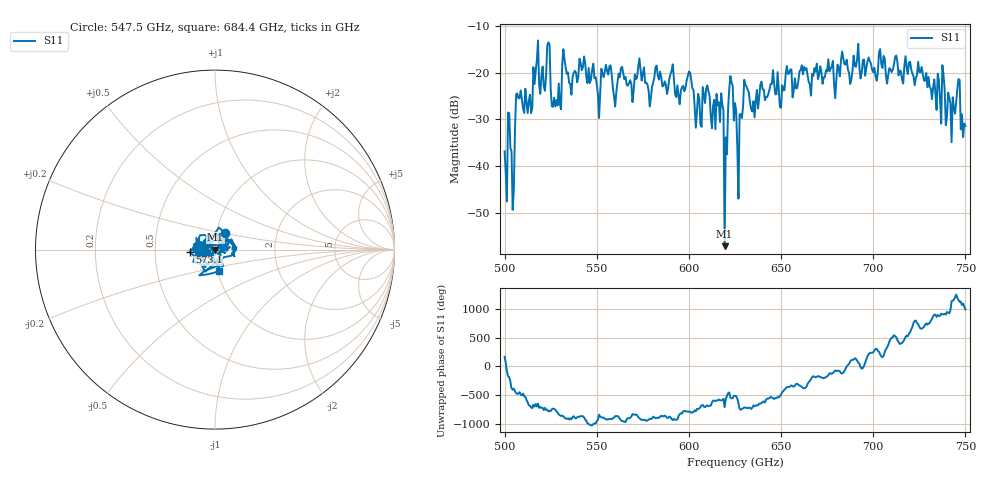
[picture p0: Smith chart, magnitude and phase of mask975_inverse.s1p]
!Created with skrf (http://scikit-rf.org).
# GHz S MA R 50.0
!freq magS11 angS11
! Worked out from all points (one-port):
!   401 points, 500 GHz to 750 GHz, reference 50 ohm
!   lowest |S11| = -57.1 dB at 619.4 GHz (marker M1), VSWR 1.00, Z = 50.1 + j0.0322 ohm
!   |S11| at or under -10 dB: start of sweep to end of sweep
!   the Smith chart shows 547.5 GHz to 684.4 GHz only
!   S11 on the Smith chart (normalised r, x): 547.5 GHz: 1.09, +0.21; 573.1 GHz: 0.75, -0.02; 684.4 GHz: 1.01, -0.25
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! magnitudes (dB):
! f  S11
! 500 GHz  -36.8
! 504.4 GHz  -49.4
! 507.5 GHz  -25.5
! 513.8 GHz  -24.7
! 516.9 GHz  -19.6
! 523.8 GHz  -13.5
! 526.9 GHz  -25.4
! 531.2 GHz  -18.2
! 547.5 GHz  -19.3
! 562.5 GHz  -21.0
! 573.1 GHz  -16.9
! 593.8 GHz  -22.7
! 600 GHz  -19.8
! 616.2 GHz  -26.3
! 619.4 GHz  -57.1
! 620.6 GHz  -37.5
! 622.5 GHz  -20.7
! 625 GHz  -26.5
! 627.5 GHz  -28.9
! 631.2 GHz  -23.0
! 634.4 GHz  -28.3
! 656.2 GHz  -25.3
! 684.4 GHz  -18.2
! 687.5 GHz  -22.4
! 718.8 GHz  -20.3
! 743.1 GHz  -25.3
! 745.6 GHz  -23.5
! 750 GHz  -31.4
